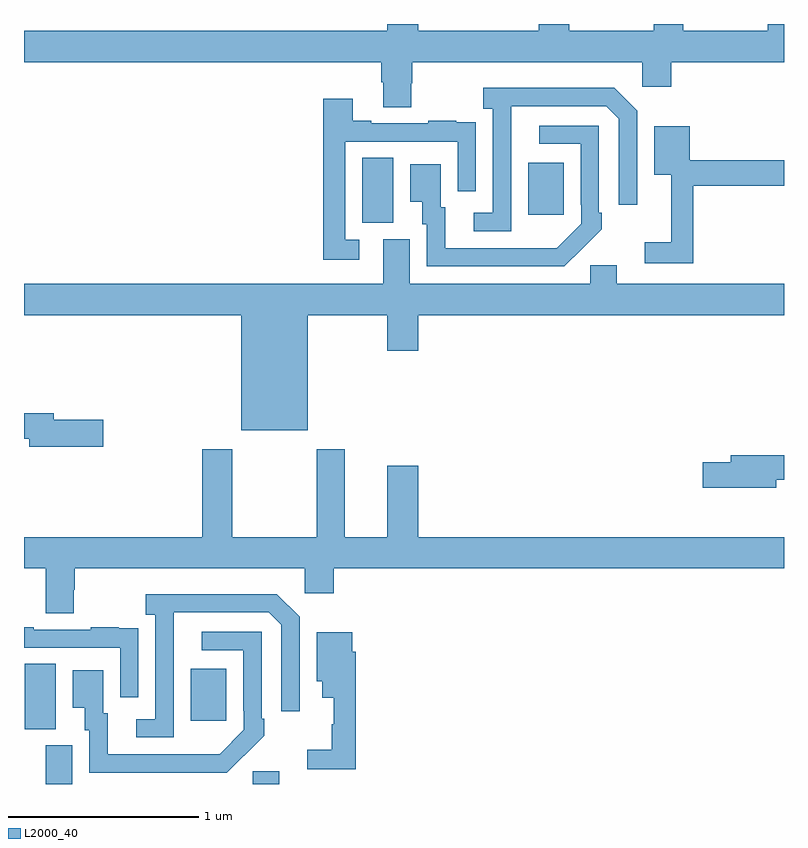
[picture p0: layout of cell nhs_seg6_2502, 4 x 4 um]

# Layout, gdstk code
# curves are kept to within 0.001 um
import gdstk
lib = gdstk.Library(unit=1e-6, precision=1e-09)
def R(c, l, rs):  # rectangles x0, y0, x1, y1
    for r in rs: c.add(gdstk.rectangle(r[:2], r[2:], *l))
def P(c, l, *ps):  # polygons
    for p in ps: c.add(gdstk.Polygon(p, *l))
L2000_40 = (2000, 40)

nhs_seg6_2502 = lib.new_cell('nhs_seg6_2502')
R(nhs_seg6_2502, L2000_40, [(259.115,979.5,259.255,979.704), (260.205,979.5,260.344,979.566), (259.004,979.789,259.168,980.132), (259.877,979.833,260.065,980.107), (260.78,982.453,260.944,982.796), (261.653,982.497,261.841,982.771)])
P(nhs_seg6_2502, L2000_40, [(261.039,983.187),(261.044,983.187),(261.044,983.3),(262.254,983.3),(262.254,983.169),(262.406,983.169),(262.406,983.3),(263,983.3),(263,983.5),(262.915,983.5),(262.915,983.464),(262.47,983.464),(262.47,983.5),(262.315,983.5),(262.315,983.464),(261.87,983.464),(261.87,983.5),(261.71,983.5),(261.71,983.464),(261.076,983.464),(261.076,983.5),(260.912,983.5),(260.912,983.464),(259,983.464),(259,983.3),(260.879,983.3),(260.879,983.194),(260.891,983.194),(260.891,983.062),(261.039,983.062)],
  [(261.564,982.867),(261.565,983.067),(262.065,983.067),(262.131,983.001),(262.131,982.548),(262.227,982.548),(262.227,983.043),(262.106,983.164),(261.416,983.164),(261.416,983.054),(261.468,983.054),(261.468,982.506),(261.366,982.506),(261.366,982.41),(261.564,982.41)],
  [(260.764,982.365),(260.691,982.365),(260.691,982.881),(261.282,982.881),(261.282,982.62),(261.378,982.62),(261.378,982.874),(261.377,982.874),(261.377,982.983),(261.275,982.983),(261.275,982.99),(261.127,982.99),(261.127,982.977),(260.827,982.977),(260.827,982.99),(260.731,982.99),(260.731,983.107),(260.575,983.107),(260.575,982.26),(260.764,982.26)],
  [(261.935,982.315),(261.936,982.314),(262.041,982.419),(262.041,982.507),(262.026,982.507),(262.026,982.965),(261.711,982.965),(261.711,982.869),(261.93,982.869),(261.93,982.549),(261.933,982.549),(261.933,982.449),(261.805,982.321),(261.217,982.32),(261.217,982.536),(261.193,982.536),(261.193,982.762),(261.032,982.762),(261.032,982.565),(261.095,982.565),(261.095,982.446),(261.12,982.446),(261.12,982.224),(261.844,982.224)],
  [(262.523,982.648),(263,982.648),(263,982.784),(262.503,982.784),(262.503,982.963),(262.316,982.963),(262.316,982.706),(262.406,982.706),(262.406,982.351),(262.266,982.351),(262.266,982.242),(262.523,982.242)],
  [(260.494,981.968),(260.912,981.968),(260.912,981.78),(261.076,981.78),(261.076,981.968),(263,981.968),(263,982.132),(262.12,982.132),(262.12,982.23),(261.981,982.23),(261.981,982.132),(261.031,982.132),(261.031,982.368),(260.891,982.368),(260.891,982.132),(259,982.132),(259,981.968),(260.144,981.968),(260.144,981.362),(260.494,981.362)],
  [(259.416,981.416),(259.156,981.416),(259.156,981.452),(259,981.452),(259,981.316),(259.028,981.316),(259.028,981.274),(259.416,981.274)],
  [(259.263,980.523),(259.267,980.523),(259.267,980.636),(260.478,980.636),(260.478,980.505),(260.63,980.505),(260.63,980.636),(263,980.636),(263,980.8),(261.076,980.8),(261.076,981.175),(260.912,981.175),(260.912,980.8),(260.689,980.8),(260.689,981.262),(260.541,981.262),(260.541,980.8),(260.097,980.8),(260.097,981.262),(259.937,981.262),(259.937,980.8),(259,980.8),(259,980.636),(259.115,980.636),(259.115,980.398),(259.263,980.398)],
  [(262.96,981.102),(263,981.102),(263,981.23),(262.721,981.23),(262.721,981.194),(262.572,981.194),(262.572,981.059),(262.96,981.059)],
  [(259.788,980.203),(259.789,980.403),(260.289,980.403),(260.355,980.337),(260.355,979.884),(260.451,979.884),(260.451,980.379),(260.33,980.5),(259.641,980.5),(259.641,980.39),(259.692,980.39),(259.692,979.842),(259.59,979.842),(259.59,979.746),(259.788,979.746)],
  [(259.602,980.21),(259.601,980.21),(259.601,980.319),(259.499,980.319),(259.499,980.326),(259.351,980.326),(259.351,980.313),(259.051,980.313),(259.051,980.326),(259,980.326),(259,980.217),(259.506,980.217),(259.506,979.956),(259.602,979.956)],
  [(260.159,979.651),(260.16,979.65),(260.265,979.755),(260.265,979.843),(260.25,979.843),(260.25,980.301),(259.935,980.301),(259.935,980.205),(260.154,980.205),(260.154,979.885),(260.157,979.885),(260.157,979.785),(260.029,979.657),(259.441,979.656),(259.441,979.872),(259.417,979.872),(259.417,980.098),(259.256,980.098),(259.256,979.901),(259.319,979.901),(259.319,979.782),(259.344,979.782),(259.344,979.56),(260.068,979.56)],
  [(260.747,980.195),(260.728,980.195),(260.728,980.299),(260.54,980.299),(260.54,980.042),(260.57,980.042),(260.57,979.955),(260.63,979.955),(260.63,979.815),(260.619,979.815),(260.619,979.679),(260.49,979.679),(260.49,979.578),(260.747,979.578)])

lib.write_gds('nhs_seg6_2502.gds')
